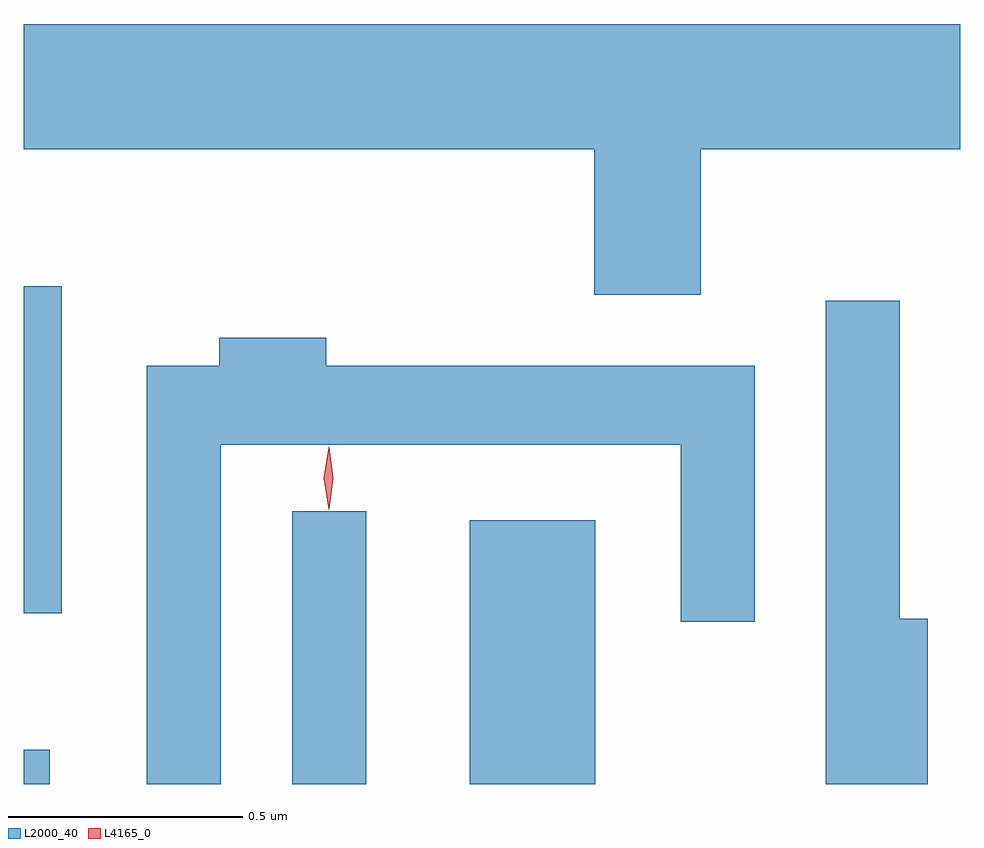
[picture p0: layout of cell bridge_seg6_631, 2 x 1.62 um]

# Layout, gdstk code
import gdstk
lib = gdstk.Library(unit=1e-6, precision=1e-09)
def R(c, l, rs):  # rectangles x0, y0, x1, y1
    for r in rs: c.add(gdstk.rectangle(r[:2], r[2:], *l))
def P(c, l, *ps):  # polygons
    for p in ps: c.add(gdstk.Polygon(p, *l))
L2000_40 = (2000, 40)
L4165_0 = (4165, 0)

bridge_seg6_631 = lib.new_cell('bridge_seg6_631')
R(bridge_seg6_631, L2000_40, [(544.343,1621.941,544.399,1622.014), (544.916,1621.941,545.074,1622.523), (545.296,1621.941,545.564,1622.504), (544.343,1622.306,544.424,1623.004)])
P(bridge_seg6_631, L2000_40, [(545.789,1623.296),(546.343,1623.296),(546.343,1623.564),(544.343,1623.564),(544.343,1623.296),(545.561,1623.296),(545.561,1622.986),(545.789,1622.986)],
  [(546.274,1622.294),(546.214,1622.294),(546.214,1622.973),(546.056,1622.973),(546.056,1621.941),(546.274,1621.941)],
  [(544.764,1622.666),(545.746,1622.666),(545.746,1622.288),(545.904,1622.288),(545.904,1622.834),(544.989,1622.834),(544.989,1622.894),(544.761,1622.894),(544.761,1622.834),(544.606,1622.834),(544.606,1621.941),(544.764,1621.941)])
P(bridge_seg6_631, L4165_0, [(544.994,1622.527),(544.994,1622.528),(544.984,1622.594),(544.994,1622.66),(544.994,1622.661),(544.995,1622.66),(545.004,1622.594),(544.995,1622.528)])

lib.write_gds('bridge_seg6_631.gds')
